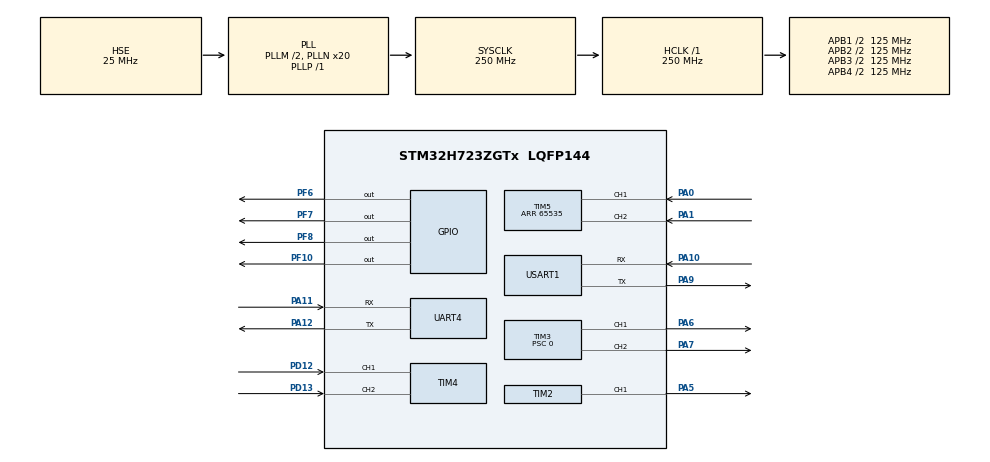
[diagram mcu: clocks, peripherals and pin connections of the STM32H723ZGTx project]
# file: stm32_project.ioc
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CORTEX_M7.default_mode_Activation=1
Dma.Request0=UART4_RX
Dma.Request1=UART4_TX
Dma.UART4_RX.0.Direction=DMA_PERIPH_TO_MEMORY
Dma.UART4_RX.0.EventEnable=DISABLE
Dma.UART4_RX.0.FIFOMode=DMA_FIFOMODE_DISABLE
Dma.UART4_RX.0.Instance=DMA1_Stream0
Dma.UART4_RX.0.MemDataAlignment=DMA_MDATAALIGN_BYTE
Dma.UART4_RX.0.MemInc=DMA_MINC_ENABLE
Dma.UART4_RX.0.Mode=DMA_NORMAL
Dma.UART4_RX.0.PeriphDataAlignment=DMA_PDATAALIGN_BYTE
Dma.UART4_RX.0.PeriphInc=DMA_PINC_DISABLE
Dma.UART4_RX.0.Polarity=HAL_DMAMUX_REQ_GEN_RISING
Dma.UART4_RX.0.Priority=DMA_PRIORITY_HIGH
Dma.UART4_RX.0.RequestNumber=1
Dma.UART4_RX.0.SignalID=NONE
Dma.UART4_RX.0.SyncEnable=DISABLE
Dma.UART4_RX.0.SyncPolarity=HAL_DMAMUX_SYNC_NO_EVENT
Dma.UART4_RX.0.SyncRequestNumber=1
Dma.UART4_RX.0.SyncSignalID=NONE
Dma.UART4_TX.1.Direction=DMA_MEMORY_TO_PERIPH
Dma.UART4_TX.1.EventEnable=DISABLE
Dma.UART4_TX.1.FIFOMode=DMA_FIFOMODE_DISABLE
Dma.UART4_TX.1.Instance=DMA1_Stream1
Dma.UART4_TX.1.MemDataAlignment=DMA_MDATAALIGN_BYTE
Dma.UART4_TX.1.MemInc=DMA_MINC_ENABLE
Dma.UART4_TX.1.Mode=DMA_NORMAL
Dma.UART4_TX.1.PeriphDataAlignment=DMA_PDATAALIGN_BYTE
Dma.UART4_TX.1.PeriphInc=DMA_PINC_DISABLE
Dma.UART4_TX.1.Polarity=HAL_DMAMUX_REQ_GEN_RISING
Dma.UART4_TX.1.Priority=DMA_PRIORITY_LOW
Dma.UART4_TX.1.RequestNumber=1
Dma.UART4_TX.1.SignalID=NONE
Dma.UART4_TX.1.SyncEnable=DISABLE
Dma.UART4_TX.1.SyncPolarity=HAL_DMAMUX_SYNC_NO_EVENT
Dma.UART4_TX.1.SyncRequestNumber=1
Dma.UART4_TX.1.SyncSignalID=NONE
FREERTOS.Tasks01=defaultTask,24,128,StartDefaultTask,Default,NULL,Dynamic,NULL,NULL
FREERTOS.configENABLE_FPU=1
FREERTOS.configIDLE_SHOULD_YIELD=0
FREERTOS.configUSE_MALLOC_FAILED_HOOK=1
FREERTOS.configUSE_NEWLIB_REENTRANT=1
Mcu.Family=STM32H7
Mcu.Name=STM32H723ZGTx
Mcu.Package=LQFP144
NVIC.DMA1_Stream0_IRQn=true\:5\:0\:false\:false\:true\:true\:false\:true\:true
NVIC.DMA1_Stream1_IRQn=true\:5\:0\:false\:false\:true\:true\:false\:true\:true
NVIC.PriorityGroup=NVIC_PRIORITYGROUP_4
NVIC.TIM6_DAC_IRQn=true\:15\:0\:false\:false\:true\:false\:false\:true\:true
NVIC.TimeBase=TIM6_DAC_IRQn
NVIC.TimeBaseIP=TIM6
NVIC.UART4_IRQn=true\:5\:0\:false\:false\:true\:true\:true\:true\:true
PA0.Signal=S_TIM5_CH1
PA1.Signal=S_TIM5_CH2
PA10.Mode=Asynchronous
PA10.Signal=USART1_RX
PA11.Mode=Asynchronous
PA11.Signal=UART4_RX
PA12.Mode=Asynchronous
PA12.Signal=UART4_TX
PA13(JTMS/SWDIO).Mode=Serial_Wire
PA13(JTMS/SWDIO).Signal=DEBUG_JTMS-SWDIO
PA14(JTCK/SWCLK).Mode=Serial_Wire
PA14(JTCK/SWCLK).Signal=DEBUG_JTCK-SWCLK
PA5.Signal=S_TIM2_CH1_ETR
PA6.Signal=S_TIM3_CH1
PA7.Signal=S_TIM3_CH2
PA9.Mode=Asynchronous
PA9.Signal=USART1_TX
PD12.GPIO_PuPd=GPIO_PULLUP
PD12.Signal=S_TIM4_CH1
PD13.GPIO_PuPd=GPIO_PULLUP
PD13.Signal=S_TIM4_CH2
PF10.Signal=GPIO_Output
PF6.Signal=GPIO_Output
PF7.Signal=GPIO_Output
PF8.Signal=GPIO_Output
PH0-OSC_IN.Mode=HSE-External-Oscillator
PH0-OSC_IN.Signal=RCC_OSC_IN
PH1-OSC_OUT.Mode=HSE-External-Oscillator
PH1-OSC_OUT.Signal=RCC_OSC_OUT
ProjectManager.HeapSize=0x200
ProjectManager.StackSize=0x400
ProjectManager.TargetToolchain=STM32CubeIDE
RCC.ADCFreq_Value=50390625
RCC.APB1Freq_Value=125000000
RCC.APB2Freq_Value=125000000
RCC.APB3Freq_Value=125000000
RCC.APB4Freq_Value=125000000
RCC.CortexFreq_Value=250000000
RCC.D1PPRE=RCC_APB3_DIV2
RCC.D2PPRE1=RCC_APB1_DIV2
RCC.D2PPRE2=RCC_APB2_DIV2
RCC.D3PPRE=RCC_APB4_DIV2
RCC.DIVM1=2
RCC.DIVN1=20
RCC.DIVP1=1
RCC.HCLKFreq_Value=250000000
RCC.HSE_VALUE=25000000
RCC.PLL2FRACN=0
RCC.PLL3FRACN=0
RCC.PLLFRACN=0
RCC.PLLSourceVirtual=RCC_PLLSOURCE_HSE
RCC.SYSCLKFreq_VALUE=250000000
RCC.SYSCLKSource=RCC_SYSCLKSOURCE_PLLCLK
RCC.USBFreq_Value=125000000
SH.S_TIM2_CH1_ETR.0=TIM2_CH1,PWM Generation1 CH1
SH.S_TIM3_CH1.0=TIM3_CH1,PWM Generation1 CH1
SH.S_TIM3_CH2.0=TIM3_CH2,PWM Generation2 CH2
SH.S_TIM4_CH1.0=TIM4_CH1,Encoder_Interface
SH.S_TIM4_CH2.0=TIM4_CH2,Encoder_Interface
SH.S_TIM5_CH1.0=TIM5_CH1,Encoder_Interface
SH.S_TIM5_CH2.0=TIM5_CH2,Encoder_Interface
TIM2.AutoReloadPreload=TIM_AUTORELOAD_PRELOAD_DISABLE
TIM2.Channel-PWM\ Generation1\ CH1=TIM_CHANNEL_1
TIM2.Period=20000-1
TIM2.Prescaler=250-1
TIM2.Pulse-PWM\ Generation1\ CH1=500
TIM3.AutoReloadPreload=TIM_AUTORELOAD_PRELOAD_ENABLE
TIM3.Channel-PWM\ Generation1\ CH1=TIM_CHANNEL_1
TIM3.Channel-PWM\ Generation2\ CH2=TIM_CHANNEL_2
TIM3.Period=15624
TIM3.Prescaler=0
TIM4.EncoderMode=TIM_ENCODERMODE_TI12
TIM4.IC1Filter=6
TIM4.IC2Filter=6
TIM5.EncoderMode=TIM_ENCODERMODE_TI12
TIM5.Period=65535
USART1.VirtualMode-Asynchronous=VM_ASYNC
VP_FREERTOS_VS_CMSIS_V2.Mode=CMSIS_V2
VP_MEMORYMAP_VS_MEMORYMAP.Mode=CurAppReg
VP_SYS_VS_tim6.Mode=TIM6
VP_TIM2_VS_ClockSourceINT.Mode=Internal
VP_TIM3_VS_ClockSourceINT.Mode=Internal
board=custom

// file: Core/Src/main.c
/* USER CODE BEGIN Header */
/**
  ******************************************************************************
  * @file           : main.c
  * @brief          : Main program body
  ******************************************************************************
  * @attention
  *
  * Copyright (c) 2025 STMicroelectronics.
  * All rights reserved.
  *
  * This software is licensed under terms that can be found in the LICENSE file
  * in the root directory of this software component.
  * If no LICENSE file comes with this software, it is provided AS-IS.
  *
  ******************************************************************************
  */
/* USER CODE END Header */
#include "main.h"
#include "cmsis_os.h"

/* USER CODE BEGIN Includes */
#include "uart_config.h"
#include "uart_handle.h"
#include "log_task.h"
#include <string.h>
#include <stdio.h>
#include "log_manager.h"
#include "servo_service.h"
#include "ctrl_task.h"
#include "motor_driver.h"
#include "system_init.h"
/* USER CODE END Includes */

TIM_HandleTypeDef htim2;
TIM_HandleTypeDef htim3;
TIM_HandleTypeDef htim4;
TIM_HandleTypeDef htim5;

UART_HandleTypeDef huart4;
UART_HandleTypeDef huart1;
DMA_HandleTypeDef hdma_uart4_rx;
DMA_HandleTypeDef hdma_uart4_tx;

/* Definitions for defaultTask */
osThreadId_t defaultTaskHandle;
const osThreadAttr_t defaultTask_attributes = {
  .name = "defaultTask",
  .stack_size = 128 * 4,
  .priority = (osPriority_t) osPriorityNormal,
};

void SystemClock_Config(void);
static void MPU_Config(void);
static void MX_GPIO_Init(void);
static void MX_DMA_Init(void);
static void MX_UART4_Init(void);
static void MX_TIM2_Init(void);
static void MX_USART1_UART_Init(void);
static void MX_TIM3_Init(void);
static void MX_TIM4_Init(void);
static void MX_TIM5_Init(void);
void StartDefaultTask(void *argument);

int main(void)
{

  /* MPU Configuration--------------------------------------------------------*/
  MPU_Config();

  /* MCU Configuration--------------------------------------------------------*/

  /* Reset of all peripherals, Initializes the Flash interface and the Systick. */
  HAL_Init();

  /* Configure the system clock */
  SystemClock_Config();

  /* Initialize all configured peripherals */
  MX_GPIO_Init();
  MX_DMA_Init();
  MX_UART4_Init();
  MX_TIM2_Init();
  MX_USART1_UART_Init();
  MX_TIM3_Init();
  MX_TIM4_Init();
  MX_TIM5_Init();
  /* USER CODE BEGIN 2 */

  // 初始化UART空闲中断
  Init_UART_DMA();

  /* USER CODE END 2 */

  /* Init scheduler */
  osKernelInitialize();

  /* USER CODE BEGIN RTOS_QUEUES */
    /* add queues, ... */

    // log_manager_init();
    //
    // LOG_INFO(LOG_LEVEL_INFO ,"hello log");

  /* USER CODE END RTOS_QUEUES */

  /* Create the thread(s) */
  /* creation of defaultTask */
  defaultTaskHandle = osThreadNew(StartDefaultTask, NULL, &defaultTask_attributes);

  /* USER CODE BEGIN RTOS_THREADS */
    /* add threads, ... */

  // 初始化日志模块
  static log_manager_config_t log_config = {
    .channel_count = 1,
    .channels = {
      // 通道0: 本地调试输出（UART1）
      {
        .huart = &huart1,
        .level_mask = LOG_LEVEL_ALL,
        .module_mask = LOG_MODULE_ALL,
        .direct_output = true
        },

    // 通道1: ESP32模块（UART4） - 注释掉表示未使用
    /*
        {
            .huart = &huart4,
            .level_mask = LOG_LEVEL_ALL,
            .module_mask = LOG_MODULE_ALL,
            .direct_output = false
        },
    */
    }
  };
  LogManager_Config(&log_config);
  LOG_INFO(LOG_MODULE_SYSTEM ,"hello log");

  // 初始化控制任务
  CtrlTask_Init();
  // 初始化系统设置
  if(System_Initialize() != 0) {
    Error_Handler();
  }

  /* USER CODE END RTOS_THREADS */

  /* Start scheduler */
  osKernelStart();

  /* We should never get here as control is now taken by the scheduler */

  /* Infinite loop */
    while (1)
    {

    }
}

void SystemClock_Config(void)
{
  RCC_OscInitTypeDef RCC_OscInitStruct = {0};
  RCC_ClkInitTypeDef RCC_ClkInitStruct = {0};

  /** Supply configuration update enable
  */
  HAL_PWREx_ConfigSupply(PWR_LDO_SUPPLY);

  /** Configure the main internal regulator output voltage
  */
  __HAL_PWR_VOLTAGESCALING_CONFIG(PWR_REGULATOR_VOLTAGE_SCALE0);

  while(!__HAL_PWR_GET_FLAG(PWR_FLAG_VOSRDY)) {}

  /** Initializes the RCC Oscillators according to the specified parameters
  * in the RCC_OscInitTypeDef structure.
  */
  RCC_OscInitStruct.OscillatorType = RCC_OSCILLATORTYPE_HSE;
  RCC_OscInitStruct.HSEState = RCC_HSE_ON;
  RCC_OscInitStruct.PLL.PLLState = RCC_PLL_ON;
  RCC_OscInitStruct.PLL.PLLSource = RCC_PLLSOURCE_HSE;
  RCC_OscInitStruct.PLL.PLLM = 2;
  RCC_OscInitStruct.PLL.PLLN = 20;
  RCC_OscInitStruct.PLL.PLLP = 1;
  RCC_OscInitStruct.PLL.PLLQ = 2;
  RCC_OscInitStruct.PLL.PLLR = 2;
  RCC_OscInitStruct.PLL.PLLRGE = RCC_PLL1VCIRANGE_3;
  RCC_OscInitStruct.PLL.PLLVCOSEL = RCC_PLL1VCOWIDE;
  RCC_OscInitStruct.PLL.PLLFRACN = 0;
  if (HAL_RCC_OscConfig(&RCC_OscInitStruct) != HAL_OK)
  {
    Error_Handler();
  }

  /** Initializes the CPU, AHB and APB buses clocks
  */
  RCC_ClkInitStruct.ClockType = RCC_CLOCKTYPE_HCLK|RCC_CLOCKTYPE_SYSCLK
                              |RCC_CLOCKTYPE_PCLK1|RCC_CLOCKTYPE_PCLK2
                              |RCC_CLOCKTYPE_D3PCLK1|RCC_CLOCKTYPE_D1PCLK1;
  RCC_ClkInitStruct.SYSCLKSource = RCC_SYSCLKSOURCE_PLLCLK;
  RCC_ClkInitStruct.SYSCLKDivider = RCC_SYSCLK_DIV1;
  RCC_ClkInitStruct.AHBCLKDivider = RCC_HCLK_DIV1;
  RCC_ClkInitStruct.APB3CLKDivider = RCC_APB3_DIV2;
  RCC_ClkInitStruct.APB1CLKDivider = RCC_APB1_DIV2;
  RCC_ClkInitStruct.APB2CLKDivider = RCC_APB2_DIV2;
  RCC_ClkInitStruct.APB4CLKDivider = RCC_APB4_DIV2;

  if (HAL_RCC_ClockConfig(&RCC_ClkInitStruct, FLASH_LATENCY_3) != HAL_OK)
  {
    Error_Handler();
  }
}

static void MX_TIM2_Init(void)
{

  TIM_ClockConfigTypeDef sClockSourceConfig = {0};
  TIM_MasterConfigTypeDef sMasterConfig = {0};
  TIM_OC_InitTypeDef sConfigOC = {0};

  htim2.Instance = TIM2;
  htim2.Init.Prescaler = 250-1;
  htim2.Init.CounterMode = TIM_COUNTERMODE_UP;
  htim2.Init.Period = 20000-1;
  htim2.Init.ClockDivision = TIM_CLOCKDIVISION_DIV1;
  htim2.Init.AutoReloadPreload = TIM_AUTORELOAD_PRELOAD_DISABLE;
  if (HAL_TIM_Base_Init(&htim2) != HAL_OK)
  {
    Error_Handler();
  }
  sClockSourceConfig.ClockSource = TIM_CLOCKSOURCE_INTERNAL;
  if (HAL_TIM_ConfigClockSource(&htim2, &sClockSourceConfig) != HAL_OK)
  {
    Error_Handler();
  }
  if (HAL_TIM_PWM_Init(&htim2) != HAL_OK)
  {
    Error_Handler();
  }
  sMasterConfig.MasterOutputTrigger = TIM_TRGO_RESET;
  sMasterConfig.MasterSlaveMode = TIM_MASTERSLAVEMODE_DISABLE;
  if (HAL_TIMEx_MasterConfigSynchronization(&htim2, &sMasterConfig) != HAL_OK)
  {
    Error_Handler();
  }
  sConfigOC.OCMode = TIM_OCMODE_PWM1;
  sConfigOC.Pulse = 500;
  sConfigOC.OCPolarity = TIM_OCPOLARITY_HIGH;
  sConfigOC.OCFastMode = TIM_OCFAST_DISABLE;
  if (HAL_TIM_PWM_ConfigChannel(&htim2, &sConfigOC, TIM_CHANNEL_1) != HAL_OK)
  {
    Error_Handler();
  }
  HAL_TIM_MspPostInit(&htim2);

}

static void MX_TIM3_Init(void)
{

  TIM_ClockConfigTypeDef sClockSourceConfig = {0};
  TIM_MasterConfigTypeDef sMasterConfig = {0};
  TIM_OC_InitTypeDef sConfigOC = {0};

  htim3.Instance = TIM3;
  htim3.Init.Prescaler = 0;
  htim3.Init.CounterMode = TIM_COUNTERMODE_UP;
  htim3.Init.Period = 15624;
  htim3.Init.ClockDivision = TIM_CLOCKDIVISION_DIV1;
  htim3.Init.AutoReloadPreload = TIM_AUTORELOAD_PRELOAD_ENABLE;
  if (HAL_TIM_Base_Init(&htim3) != HAL_OK)
  {
    Error_Handler();
  }
  sClockSourceConfig.ClockSource = TIM_CLOCKSOURCE_INTERNAL;
  if (HAL_TIM_ConfigClockSource(&htim3, &sClockSourceConfig) != HAL_OK)
  {
    Error_Handler();
  }
  if (HAL_TIM_PWM_Init(&htim3) != HAL_OK)
  {
    Error_Handler();
  }
  sMasterConfig.MasterOutputTrigger = TIM_TRGO_RESET;
  sMasterConfig.MasterSlaveMode = TIM_MASTERSLAVEMODE_DISABLE;
  if (HAL_TIMEx_MasterConfigSynchronization(&htim3, &sMasterConfig) != HAL_OK)
  {
    Error_Handler();
  }
  sConfigOC.OCMode = TIM_OCMODE_PWM1;
  sConfigOC.Pulse = 0;
  sConfigOC.OCPolarity = TIM_OCPOLARITY_HIGH;
  sConfigOC.OCFastMode = TIM_OCFAST_DISABLE;
  if (HAL_TIM_PWM_ConfigChannel(&htim3, &sConfigOC, TIM_CHANNEL_1) != HAL_OK)
  {
    Error_Handler();
  }
  if (HAL_TIM_PWM_ConfigChannel(&htim3, &sConfigOC, TIM_CHANNEL_2) != HAL_OK)
  {
    Error_Handler();
  }
  HAL_TIM_MspPostInit(&htim3);

}

static void MX_TIM4_Init(void)
{

  TIM_Encoder_InitTypeDef sConfig = {0};
  TIM_MasterConfigTypeDef sMasterConfig = {0};

  htim4.Instance = TIM4;
  htim4.Init.Prescaler = 0;
  htim4.Init.CounterMode = TIM_COUNTERMODE_UP;
  htim4.Init.Period = 65535;
  htim4.Init.ClockDivision = TIM_CLOCKDIVISION_DIV1;
  htim4.Init.AutoReloadPreload = TIM_AUTORELOAD_PRELOAD_DISABLE;
  sConfig.EncoderMode = TIM_ENCODERMODE_TI12;
  sConfig.IC1Polarity = TIM_ICPOLARITY_RISING;
  sConfig.IC1Selection = TIM_ICSELECTION_DIRECTTI;
  sConfig.IC1Prescaler = TIM_ICPSC_DIV1;
  sConfig.IC1Filter = 6;
  sConfig.IC2Polarity = TIM_ICPOLARITY_RISING;
  sConfig.IC2Selection = TIM_ICSELECTION_DIRECTTI;
  sConfig.IC2Prescaler = TIM_ICPSC_DIV1;
  sConfig.IC2Filter = 6;
  if (HAL_TIM_Encoder_Init(&htim4, &sConfig) != HAL_OK)
  {
    Error_Handler();
  }
  sMasterConfig.MasterOutputTrigger = TIM_TRGO_RESET;
  sMasterConfig.MasterSlaveMode = TIM_MASTERSLAVEMODE_DISABLE;
  if (HAL_TIMEx_MasterConfigSynchronization(&htim4, &sMasterConfig) != HAL_OK)
  {
    Error_Handler();
  }

}

static void MX_TIM5_Init(void)
{

  TIM_Encoder_InitTypeDef sConfig = {0};
  TIM_MasterConfigTypeDef sMasterConfig = {0};

  htim5.Instance = TIM5;
  htim5.Init.Prescaler = 0;
  htim5.Init.CounterMode = TIM_COUNTERMODE_UP;
  htim5.Init.Period = 65535;
  htim5.Init.ClockDivision = TIM_CLOCKDIVISION_DIV1;
  htim5.Init.AutoReloadPreload = TIM_AUTORELOAD_PRELOAD_DISABLE;
  sConfig.EncoderMode = TIM_ENCODERMODE_TI1;
  sConfig.IC1Polarity = TIM_ICPOLARITY_RISING;
  sConfig.IC1Selection = TIM_ICSELECTION_DIRECTTI;
  sConfig.IC1Prescaler = TIM_ICPSC_DIV1;
  sConfig.IC1Filter = 0;
  sConfig.IC2Polarity = TIM_ICPOLARITY_RISING;
  sConfig.IC2Selection = TIM_ICSELECTION_DIRECTTI;
  sConfig.IC2Prescaler = TIM_ICPSC_DIV1;
  sConfig.IC2Filter = 0;
  if (HAL_TIM_Encoder_Init(&htim5, &sConfig) != HAL_OK)
  {
    Error_Handler();
  }
  sMasterConfig.MasterOutputTrigger = TIM_TRGO_RESET;
  sMasterConfig.MasterSlaveMode = TIM_MASTERSLAVEMODE_DISABLE;
  if (HAL_TIMEx_MasterConfigSynchronization(&htim5, &sMasterConfig) != HAL_OK)
  {
    Error_Handler();
  }

}

static void MX_UART4_Init(void)
{

  huart4.Instance = UART4;
  huart4.Init.BaudRate = 115200;
  huart4.Init.WordLength = UART_WORDLENGTH_8B;
  huart4.Init.StopBits = UART_STOPBITS_1;
  huart4.Init.Parity = UART_PARITY_NONE;
  huart4.Init.Mode = UART_MODE_TX_RX;
  huart4.Init.HwFlowCtl = UART_HWCONTROL_NONE;
  huart4.Init.OverSampling = UART_OVERSAMPLING_16;
  huart4.Init.OneBitSampling = UART_ONE_BIT_SAMPLE_DISABLE;
  huart4.Init.ClockPrescaler = UART_PRESCALER_DIV1;
  huart4.AdvancedInit.AdvFeatureInit = UART_ADVFEATURE_NO_INIT;
  if (HAL_UART_Init(&huart4) != HAL_OK)
  {
    Error_Handler();
  }
  if (HAL_UARTEx_SetTxFifoThreshold(&huart4, UART_TXFIFO_THRESHOLD_1_8) != HAL_OK)
  {
    Error_Handler();
  }
  if (HAL_UARTEx_SetRxFifoThreshold(&huart4, UART_RXFIFO_THRESHOLD_1_8) != HAL_OK)
  {
    Error_Handler();
  }
  if (HAL_UARTEx_DisableFifoMode(&huart4) != HAL_OK)
  {
    Error_Handler();
  }

}

static void MX_USART1_UART_Init(void)
{

  huart1.Instance = USART1;
  huart1.Init.BaudRate = 115200;
  huart1.Init.WordLength = UART_WORDLENGTH_8B;
  huart1.Init.StopBits = UART_STOPBITS_1;
  huart1.Init.Parity = UART_PARITY_NONE;
  huart1.Init.Mode = UART_MODE_TX_RX;
  huart1.Init.HwFlowCtl = UART_HWCONTROL_NONE;
  huart1.Init.OverSampling = UART_OVERSAMPLING_16;
  huart1.Init.OneBitSampling = UART_ONE_BIT_SAMPLE_DISABLE;
  huart1.Init.ClockPrescaler = UART_PRESCALER_DIV1;
  huart1.AdvancedInit.AdvFeatureInit = UART_ADVFEATURE_NO_INIT;
  if (HAL_UART_Init(&huart1) != HAL_OK)
  {
    Error_Handler();
  }
  if (HAL_UARTEx_SetTxFifoThreshold(&huart1, UART_TXFIFO_THRESHOLD_1_8) != HAL_OK)
  {
    Error_Handler();
  }
  if (HAL_UARTEx_SetRxFifoThreshold(&huart1, UART_RXFIFO_THRESHOLD_1_8) != HAL_OK)
  {
    Error_Handler();
  }
  if (HAL_UARTEx_DisableFifoMode(&huart1) != HAL_OK)
  {
    Error_Handler();
  }

}

static void MX_DMA_Init(void)
{

  /* DMA controller clock enable */
  __HAL_RCC_DMA1_CLK_ENABLE();

  /* DMA interrupt init */
  /* DMA1_Stream0_IRQn interrupt configuration */
  HAL_NVIC_SetPriority(DMA1_Stream0_IRQn, 5, 0);
  HAL_NVIC_EnableIRQ(DMA1_Stream0_IRQn);
  /* DMA1_Stream1_IRQn interrupt configuration */
  HAL_NVIC_SetPriority(DMA1_Stream1_IRQn, 5, 0);
  HAL_NVIC_EnableIRQ(DMA1_Stream1_IRQn);

}

static void MX_GPIO_Init(void)
{
  GPIO_InitTypeDef GPIO_InitStruct = {0};

  /* GPIO Ports Clock Enable */
  __HAL_RCC_GPIOF_CLK_ENABLE();
  __HAL_RCC_GPIOH_CLK_ENABLE();
  __HAL_RCC_GPIOA_CLK_ENABLE();
  __HAL_RCC_GPIOD_CLK_ENABLE();

  /*Configure GPIO pin Output Level */
  HAL_GPIO_WritePin(GPIOF, GPIO_PIN_6|GPIO_PIN_7|GPIO_PIN_8|GPIO_PIN_10, GPIO_PIN_RESET);

  /*Configure GPIO pins : PF6 PF7 PF8 PF10 */
  GPIO_InitStruct.Pin = GPIO_PIN_6|GPIO_PIN_7|GPIO_PIN_8|GPIO_PIN_10;
  GPIO_InitStruct.Mode = GPIO_MODE_OUTPUT_PP;
  GPIO_InitStruct.Pull = GPIO_NOPULL;
  GPIO_InitStruct.Speed = GPIO_SPEED_FREQ_LOW;
  HAL_GPIO_Init(GPIOF, &GPIO_InitStruct);

}

void StartDefaultTask(void *argument)
{
    for (;;)
    {
        osDelay(1);
    }
}

 /* MPU Configuration */

void MPU_Config(void)
{
  MPU_Region_InitTypeDef MPU_InitStruct = {0};

  /* Disables the MPU */
  HAL_MPU_Disable();

  /** Initializes and configures the Region and the memory to be protected
  */
  MPU_InitStruct.Enable = MPU_REGION_ENABLE;
  MPU_InitStruct.Number = MPU_REGION_NUMBER0;
  MPU_InitStruct.BaseAddress = 0x0;
  MPU_InitStruct.Size = MPU_REGION_SIZE_4GB;
  MPU_InitStruct.SubRegionDisable = 0x87;
  MPU_InitStruct.TypeExtField = MPU_TEX_LEVEL0;
  MPU_InitStruct.AccessPermission = MPU_REGION_NO_ACCESS;
  MPU_InitStruct.DisableExec = MPU_INSTRUCTION_ACCESS_DISABLE;
  MPU_InitStruct.IsShareable = MPU_ACCESS_SHAREABLE;
  MPU_InitStruct.IsCacheable = MPU_ACCESS_NOT_CACHEABLE;
  MPU_InitStruct.IsBufferable = MPU_ACCESS_NOT_BUFFERABLE;

  HAL_MPU_ConfigRegion(&MPU_InitStruct);
  /* Enables the MPU */
  HAL_MPU_Enable(MPU_PRIVILEGED_DEFAULT);

}

void HAL_TIM_PeriodElapsedCallback(TIM_HandleTypeDef *htim)
{
  if (htim->Instance == TIM6)
  {
    HAL_IncTick();
  }
}

void Error_Handler(void)
{
    __disable_irq();
    while (1)
    {
    }
}
